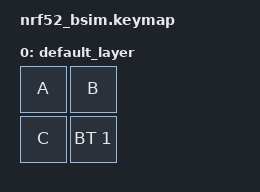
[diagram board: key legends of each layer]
#include <behaviors.dtsi>
#include <dt-bindings/zmk/bt.h>
#include <dt-bindings/zmk/keys.h>
#include <dt-bindings/zmk/kscan_mock.h>

/*
 * Each event's delay is the time until the next one. A is pressed at 5 s
 * and goes to host A (d_02, profile 0). BT_SEL 1 at 10.2 s; host B (d_03)
 * bonds to profile 1 and gets B at 12.2 s. C goes down at 13.0 s, and host A
 * writes "select me" at about 13.5 s, while C is still held.
 *
 * C is held until 15.5 s, longer than ZMK_HOST_SELECT_MAX_DEFER_MS (1 s), so
 * the switch happens at about 14.8 s with C still down. Host B must get C's
 * release before the keyboard leaves it, and host A never sees C at all.
 */
&kscan {
    events =
    <ZMK_MOCK_PRESS(0,0,5000)
    ZMK_MOCK_RELEASE(0,0,200)
    ZMK_MOCK_PRESS(1,1,10)
    ZMK_MOCK_RELEASE(1,1,2000)
    ZMK_MOCK_PRESS(0,1,500)
    ZMK_MOCK_RELEASE(0,1,300)
    ZMK_MOCK_PRESS(1,0,2500)
    ZMK_MOCK_RELEASE(1,0,1500)
    ZMK_MOCK_PRESS(0,0,200)
    ZMK_MOCK_RELEASE(0,0,200)>;
};

/ {
    keymap {
        compatible = "zmk,keymap";

        default_layer {
            bindings = <
            &kp A &kp B
            &kp C &bt BT_SEL 1>;
        };
    };
};
